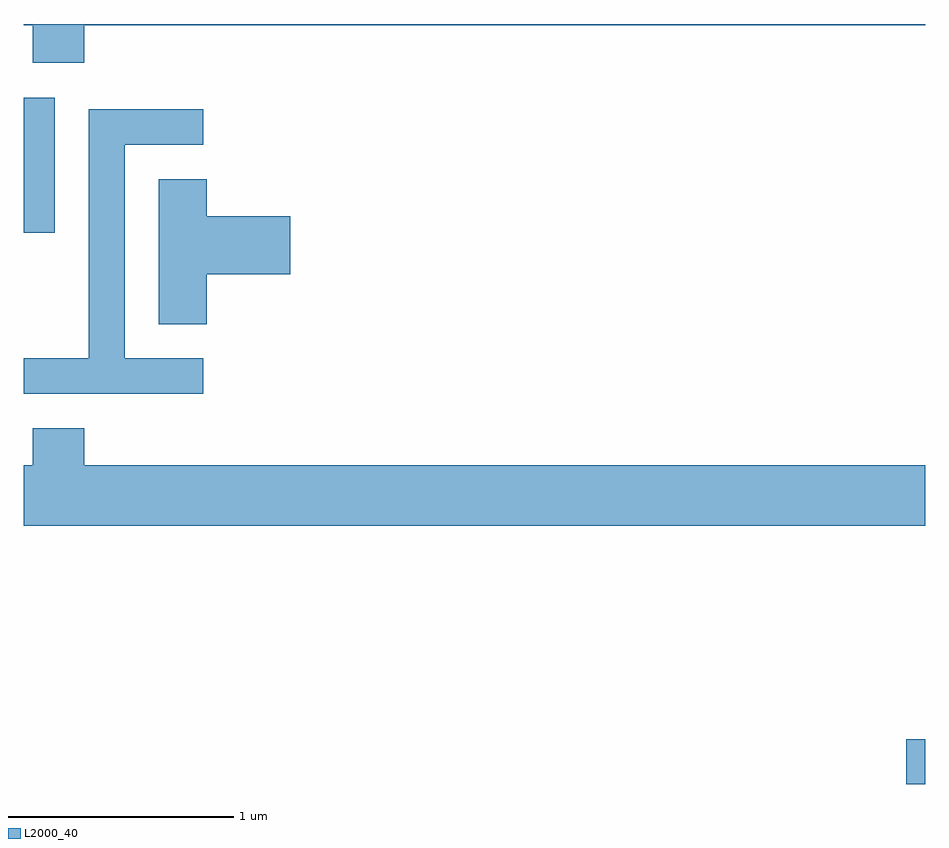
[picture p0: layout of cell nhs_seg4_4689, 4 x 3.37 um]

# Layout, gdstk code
import gdstk
lib = gdstk.Library(unit=1e-6, precision=1e-09)
def R(c, l, rs):  # rectangles x0, y0, x1, y1
    for r in rs: c.add(gdstk.rectangle(r[:2], r[2:], *l))
def P(c, l, *ps):  # polygons
    for p in ps: c.add(gdstk.Polygon(p, *l))
L2000_40 = (2000, 40)

nhs_seg4_4689 = lib.new_cell('nhs_seg4_4689')
R(nhs_seg4_4689, L2000_40, [(325.526,1384.611,325.611,1384.809), (321.611,1387.056,321.749,1387.654)])
P(nhs_seg4_4689, L2000_40, [(321.879,1387.976),(325.611,1387.976),(325.611,1387.982),(321.611,1387.982),(321.611,1387.976),(321.651,1387.976),(321.651,1387.811),(321.879,1387.811)],
  [(322.408,1386.499),(322.059,1386.499),(322.059,1387.446),(322.408,1387.446),(322.408,1387.604),(321.901,1387.604),(321.901,1386.499),(321.611,1386.499),(321.611,1386.341),(322.408,1386.341)],
  [(322.424,1386.871),(322.794,1386.871),(322.794,1387.129),(322.424,1387.129),(322.424,1387.294),(322.211,1387.294),(322.211,1386.651),(322.424,1386.651)],
  [(325.611,1386.024),(321.879,1386.024),(321.879,1386.189),(321.651,1386.189),(321.651,1386.024),(321.611,1386.024),(321.611,1385.756),(325.611,1385.756)])

lib.write_gds('nhs_seg4_4689.gds')
